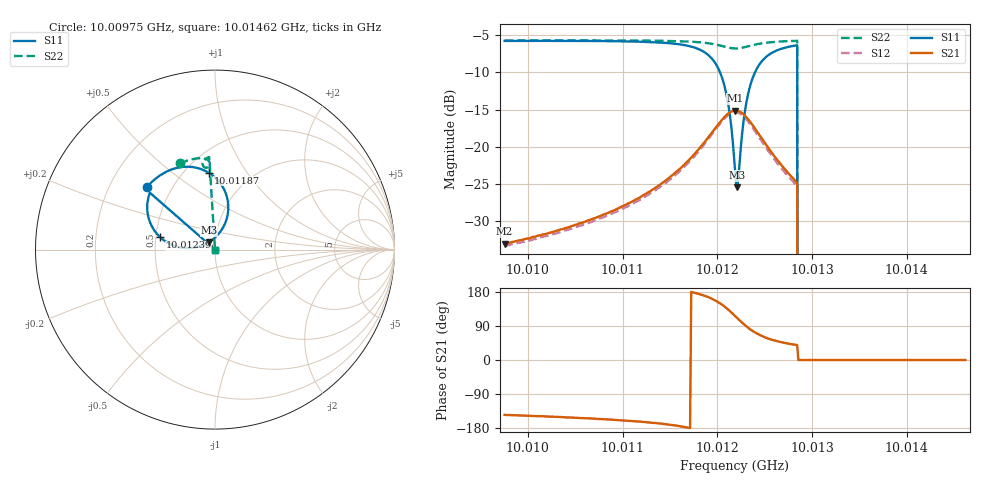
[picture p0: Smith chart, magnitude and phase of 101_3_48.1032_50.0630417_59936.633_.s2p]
#  HZ  S  RI  R  50.00
! Rohde & Schwarz Vector Network Analyzer
! Rohde-Schwarz,ZNB20-2Port,1311601062101988,3.16
! Created: UTC 12/23/2023, 3:44:46 AM
! freq[Hz]  re:S11  im:S11  re:S21  im:S21  re:S12  im:S12  re:S22  im:S22
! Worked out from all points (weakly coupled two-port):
!   401 points, 10.00975 GHz to 10.01462 GHz, reference 50 ohm
!   highest |S21| = -15.11 dB at 10.01219 GHz (marker M1); lowest = -33.0 dB at 10.00975 GHz (marker M2)
!   lowest |S11| = -25.4 dB at 10.01221 GHz (marker M3), VSWR 1.11, Z = 46.6 + j3.89 ohm
!   |S11| at or under -10 dB: 10.01203 GHz to 10.0124 GHz (367.7 kHz wide, 0.00367 % of centre); 10.01284 GHz to end of sweep
!   |S22| runs from - to -5.7 dB; largest |S21 - S12| = 0.0084
!   S11 on the Smith chart (normalised r, x): 10.00975 GHz: 0.36, +0.35; 10.01187 GHz: 0.65, +0.68; 10.01239 GHz: 0.53, +0.08; 10.01462 GHz: 1.00, +0.00
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1.0009755e10  -0.3784 0.3504  -0.0182 -0.0129  -0.0169 -0.0133  -0.1963 0.4798
1.001057e10  -0.3229 0.4013  -0.0276 -0.0138  -0.0258 -0.0146  -0.1449 0.4983
1.0011032e10  -0.2757 0.4314  -0.0383 -0.0141  -0.0362 -0.0154  -0.113 0.506
1.0011384e10  -0.2186 0.4536  -0.0538 -0.0122  -0.0512 -0.0143  -0.0859 0.5095
1.0011652e10  -0.1437 0.4614  -0.0758 -0.00419  -0.0731 -0.00801  -0.0622 0.5081
1.0011871e10  -0.0361 0.4289  -0.1067 0.0205  -0.1045 0.0142  -0.04 0.4988
1.0011992e10  0.0416 0.3515  -0.1243 0.0578  -0.124 0.0499  -0.0299 0.485
1.0012077e10  0.074 0.2435  -0.1236 0.1004  -0.1251 0.0927  -0.0296 0.4707
1.0012138e10  0.0552 0.1436  -0.1051 0.1355  -0.1078 0.1284  -0.036 0.4608
1.0012187e10  0.00334 0.0702  -0.0776 0.1575  -0.0817 0.1503  -0.045 0.4566
1.0012211e10  -0.0336 0.0417  -0.0608 0.164  -0.0656 0.1574  -0.0501 0.4562
1.0012223e10  -0.0542 0.0307  -0.0523 0.166  -0.0565 0.1597  -0.0526 0.4565
1.0012272e10  -0.1398 0.00868  -0.0186 0.1657  -0.0223 0.16  -0.0617 0.4611
1.0012308e10  -0.201 0.0138  0.00421 0.158  -0.000599 0.1526  -0.0662 0.4664
1.0012345e10  -0.2529 0.0324  0.0222 0.1465  0.0165 0.1415  -0.0686 0.4729
1.0012394e10  -0.3051 0.0687  0.0386 0.1284  0.0329 0.1242  -0.0692 0.4812
1.0012552e10  -0.3732 0.1904  0.0545 0.0788  0.0487 0.0774  -0.0588 0.5007
1.0012819e10  -0.3655 0.31  0.0453 0.0387  0.0416 0.0385  -0.0346 0.5145
1.001288e10  0 0  0 0  0 0  0 0
1.0013002e10  0 0  0 0  0 0  0 0
1.0013816e10  0 0  0 0  0 0  0 0
1.0014619e10  0 0  0 0  0 0  0 0
